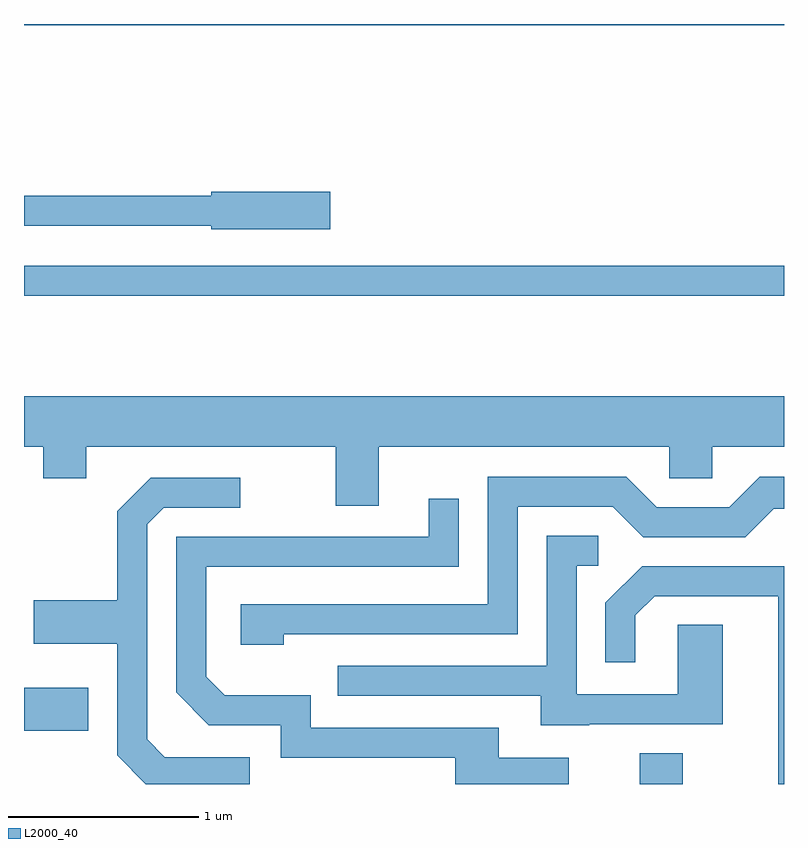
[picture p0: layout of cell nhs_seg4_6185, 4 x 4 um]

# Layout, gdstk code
import gdstk
lib = gdstk.Library(unit=1e-6, precision=1e-09)
def R(c, l, rs):  # rectangles x0, y0, x1, y1
    for r in rs: c.add(gdstk.rectangle(r[:2], r[2:], *l))
def P(c, l, *ps):  # polygons
    for p in ps: c.add(gdstk.Polygon(p, *l))
L2000_40 = (2000, 40)

nhs_seg4_6185 = lib.new_cell('nhs_seg4_6185')
R(nhs_seg4_6185, L2000_40, [(368.851,1383.982,369.079,1384.144), (365.611,1384.261,365.949,1384.489), (365.611,1386.551,369.611,1386.709), (365.611,1387.976,369.611,1387.982)])
P(nhs_seg4_6185, L2000_40, [(367.224,1387.099),(366.596,1387.099),(366.596,1387.079),(365.611,1387.079),(365.611,1386.921),(366.596,1386.921),(366.596,1386.901),(367.224,1386.901)],
  [(367.479,1385.756),(369.006,1385.756),(369.006,1385.591),(369.234,1385.591),(369.234,1385.756),(369.611,1385.756),(369.611,1386.024),(365.611,1386.024),(365.611,1385.756),(365.711,1385.756),(365.711,1385.591),(365.939,1385.591),(365.939,1385.756),(367.251,1385.756),(367.251,1385.446),(367.479,1385.446)],
  [(366.979,1384.771),(368.209,1384.771),(368.209,1385.441),(368.709,1385.441),(368.869,1385.281),(369.407,1385.281),(369.557,1385.431),(369.611,1385.431),(369.611,1385.599),(369.484,1385.599),(369.324,1385.439),(368.942,1385.439),(368.782,1385.599),(368.051,1385.599),(368.051,1384.929),(366.751,1384.929),(366.751,1384.716),(366.979,1384.716)],
  [(366.798,1384.124),(366.352,1384.124),(366.259,1384.217),(366.259,1385.349),(366.347,1385.436),(366.748,1385.436),(366.748,1385.594),(366.279,1385.594),(366.101,1385.417),(366.101,1384.949),(365.661,1384.949),(365.661,1384.721),(366.101,1384.721),(366.101,1384.134),(366.253,1383.982),(366.798,1383.982)],
  [(368.478,1384.119),(368.109,1384.119),(368.109,1384.279),(367.119,1384.279),(367.119,1384.449),(366.667,1384.449),(366.569,1384.547),(366.569,1385.126),(367.899,1385.126),(367.899,1385.483),(367.741,1385.483),(367.741,1385.284),(366.411,1385.284),(366.411,1384.464),(366.584,1384.291),(366.961,1384.291),(366.961,1384.121),(367.881,1384.121),(367.881,1383.982),(368.478,1383.982)],
  [(368.585,1384.296),(369.289,1384.296),(369.289,1384.819),(369.051,1384.819),(369.051,1384.454),(368.519,1384.454),(368.519,1385.131),(368.633,1385.131),(368.633,1385.289),(368.361,1385.289),(368.361,1384.604),(367.263,1384.604),(367.263,1384.446),(368.331,1384.446),(368.331,1384.291),(368.585,1384.291)],
  [(369.611,1385.129),(368.864,1385.129),(368.671,1384.937),(368.671,1384.623),(368.829,1384.623),(368.829,1384.869),(368.932,1384.971),(369.581,1384.971),(369.581,1383.982),(369.611,1383.982)])

lib.write_gds('nhs_seg4_6185.gds')
